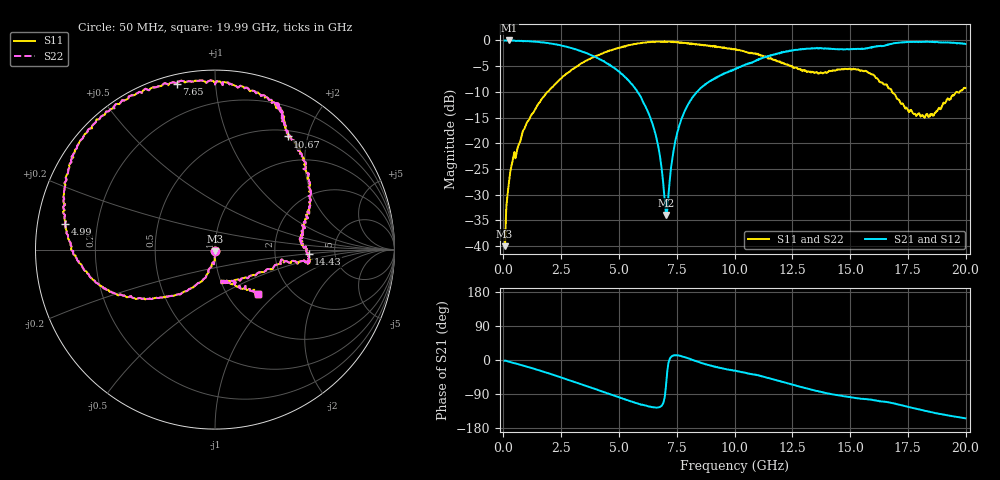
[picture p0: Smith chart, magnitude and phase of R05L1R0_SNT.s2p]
! 250R05L1R0CV4
! Data taken January 31, 2003
! Data taken on a HP 8720C VNA using a shunt-through test fixture and TRL* de-embedding
#	mhz	s	ma	r	50
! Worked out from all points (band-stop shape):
!   998 points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, 50 MHz to 19.99 GHz, reference 50 ohm
!   highest |S21| = 0.00 dB at 250 MHz (marker M1); lowest = -34.0 dB at 7.05 GHz (marker M2)
!   |S21| within 3 dB of the highest: start of sweep to 3.859 GHz; 11.49 GHz to end of sweep
!   lowest |S11| = -40.0 dB at 50 MHz (marker M3), VSWR 1.02, Z = 49.8 - j0.977 ohm
!   |S11| at or under -10 dB: start of sweep to 1.909 GHz; 16.82 GHz to 19.61 GHz (2.786 GHz wide, 15.3 % of centre); 19.61 GHz to 19.74 GHz (127.8 MHz wide, 0.65 % of centre)
!   |S22| runs from -40.0 to -0.2 dB; largest |S21 - S12| = 0
!   S11 on the Smith chart (normalised r, x): 50 MHz: 1.00, -0.02; 4.99 GHz: 0.08, +0.08; 7.65 GHz: 0.05, +0.80; 10.67 GHz: 0.58, +1.68; 14.43 GHz: 3.17, -0.20; 19.99 GHz: 1.38, -0.77
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50  0.00997 -100.3  0.9974 -1.9  0.9974 -1.9  0.00997 -100.3
250  0.04381 -91.9  1 -4.9  1 -4.9  0.04381 -91.9
390  0.06699 -93.7  0.9963 -7.1  0.9963 -7.1  0.06699 -93.7
850  0.1319 -106.1  0.9797 -14.7  0.9797 -14.7  0.1319 -106.1
1450  0.2302 -119.0  0.9695 -25.5  0.9695 -25.5  0.2302 -119.0
3390  0.6017 -155.6  0.7809 -64.5  0.7809 -64.5  0.6017 -155.6
4990  0.8481 170.2  0.5024 -98.3  0.5024 -98.3  0.8481 170.2
5930  0.9447 148.2  0.2866 -116.8  0.2866 -116.8  0.9447 148.2
6710  0.9722 131.7  0.09021 -125.1  0.09021 -125.1  0.9722 131.7
7050  0.9799 121.8  0.02003 -56.4  0.02003 -56.4  0.9799 121.8
7350  0.9609 112.5  0.08182 11.6  0.08182 11.6  0.9609 112.5
7650  0.9457 103.0  0.1575 11.0  0.1575 11.0  0.9457 103.0
8750  0.8986 71.7  0.3742 -11.6  0.3742 -11.6  0.8986 71.7
10030  0.818 62.7  0.5267 -28.0  0.5267 -28.0  0.818 62.7
10670  0.7488 57.3  0.5989 -36.7  0.5989 -36.7  0.7488 57.3
11970  0.6236 31.6  0.7576 -55.3  0.7576 -55.3  0.6236 31.6
13350  0.4963 9.4  0.8387 -78.9  0.8387 -78.9  0.4963 9.4
14430  0.522 -2.5  0.8219 -92.7  0.8219 -92.7  0.522 -2.5
15690  0.5034 -7.3  0.841 -103.2  0.841 -103.2  0.5034 -7.3
16670  0.3423 -15.7  0.9106 -111.6  0.9106 -111.6  0.3423 -15.7
18170  0.1837 -74.9  0.9682 -132.9  0.9682 -132.9  0.1837 -74.9
19990  0.3445 -45.6  0.9252 -153.9  0.9252 -153.9  0.3445 -45.6
